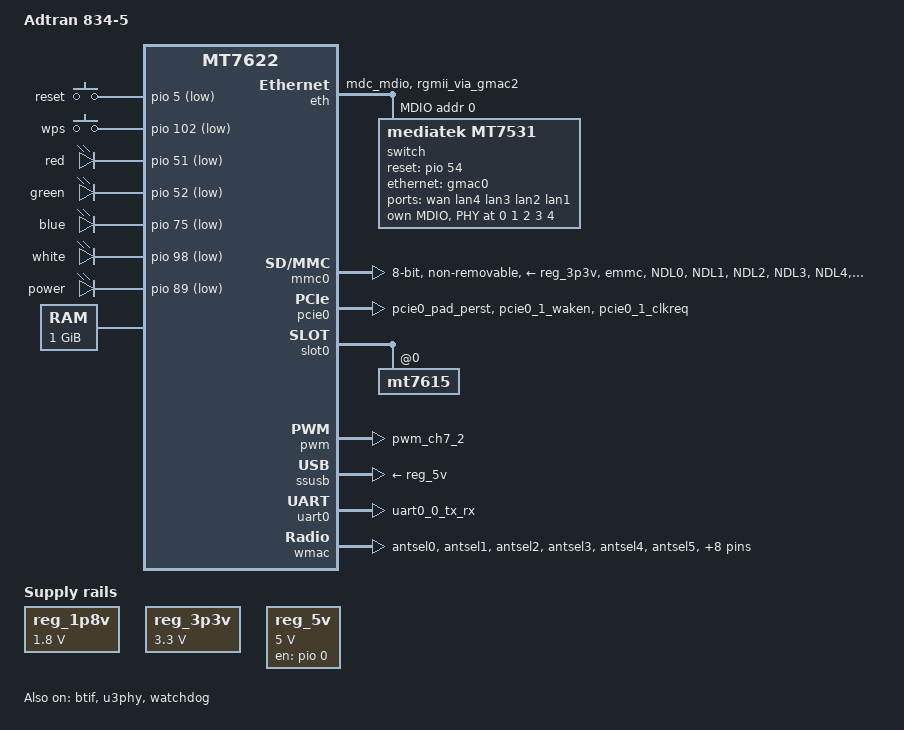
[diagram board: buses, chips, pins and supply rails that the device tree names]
/*
 * Copyright (c) 2018 MediaTek Inc.
 * Author: Ryder Lee <ryder.lee@mediatek.com>
 *
 * SPDX-License-Identifier: (GPL-2.0 OR MIT)
 */

/dts-v1/;
#include <dt-bindings/input/input.h>
#include <dt-bindings/gpio/gpio.h>

#include "mt7622.dtsi"
#include "mt6380.dtsi"

/ {
	model = "Adtran 834-5";
	compatible = "smartrg,834-5", "mediatek,mt7622";

	aliases {
		serial0 = &uart0;
		led-boot = &sys_status;
		led-failsafe = &sys_status;
		led-running = &sys_status;
		led-upgrade = &sys_status;
	};

	chosen {
		stdout-path = "serial0:115200n8";
		bootargs = "earlycon=uart8250,mmio32,0x11002000 console=ttyS0,115200n1 swiotlb=512";
	};

	cpus {
		cpu@0 {
			proc-supply = <&mt6380_vcpu_reg>;
			sram-supply = <&mt6380_vm_reg>;
		};

		cpu@1 {
			proc-supply = <&mt6380_vcpu_reg>;
			sram-supply = <&mt6380_vm_reg>;
		};
	};

	gpio-keys {
		compatible = "gpio-keys";

		reset {
			label = "reset";
			linux,code = <KEY_RESTART>;
			gpios = <&pio 5 GPIO_ACTIVE_LOW>;
		};

		wps {
			label = "wps";
			linux,code = <KEY_WPS_BUTTON>;
			gpios = <&pio 102 GPIO_ACTIVE_LOW>;
		};
	};

	leds {
		compatible = "gpio-leds";

		system_red {
			label = "red";
			gpios = <&pio 51 GPIO_ACTIVE_LOW>;
			default-state = "off";
		};

		sys_status: system_green {
			label = "green";
			gpios = <&pio 52 GPIO_ACTIVE_LOW>;
			linux,default-trigger = "timer";
		};

		system_blue {
			label = "blue";
			gpios = <&pio 75 GPIO_ACTIVE_LOW>;
			default-state = "off";
		};

		system_white {
			label = "white";
			gpios = <&pio 98 GPIO_ACTIVE_LOW>;
			default-state = "off";
		};

		power {
			label = "power";
			gpios = <&pio 89 GPIO_ACTIVE_LOW>;
			default-state = "on";
		};
	};

	memory {
		reg = <0x0 0x40000000 0x0 0x40000000>;
	};

	reserved-memory {
		#address-cells = <2>;
		#size-cells = <2>;
		ranges;

		/delete-node/ramoops@42ff0000;

		bootdata_reserved: bootdata@45000000 {
			no-map;
			reg = <0x0 0x45000000 0x0 0x00001000>;
		};
		ramoops_reserved: ramoops1@45001000 {
			no-map;
			compatible = "ramoops";
			reg = <0x0 0x45001000 0x0 0x00140000>;
			ftrace-size = <0x20000>;
			record-size = <0x20000>;
			console-size = <0x20000>;
			pmsg-size = <0x80000>;
		};
	};

	bootdata {
		compatible = "bootdata";
		memory-region = <&bootdata_reserved>;
	};

	reg_1p8v: regulator-1p8v {
		compatible = "regulator-fixed";
		regulator-name = "fixed-1.8V";
		regulator-min-microvolt = <1800000>;
		regulator-max-microvolt = <1800000>;
		regulator-always-on;
	};

	reg_3p3v: regulator-3p3v {
		compatible = "regulator-fixed";
		regulator-name = "fixed-3.3V";
		regulator-min-microvolt = <3300000>;
		regulator-max-microvolt = <3300000>;
		regulator-boot-on;
		regulator-always-on;
	};

	reg_5v: regulator-5v {
		compatible = "regulator-fixed";
		regulator-name = "fixed-5V";
		regulator-min-microvolt = <5000000>;
		regulator-max-microvolt = <5000000>;
		gpio = <&pio 0 GPIO_ACTIVE_LOW>;
		enable-active-high;
	};
};

&btif {
	status = "okay";
};

&eth {
	pinctrl-names = "default";
	pinctrl-0 = <&eth_pins>;
	status = "okay";

	gmac0: mac@0 {
		compatible = "mediatek,eth-mac";
		reg = <0>;
		phy-mode = "2500base-x";

		fixed-link {
			speed = <2500>;
			full-duplex;
			pause;
		};
	};

	mdio: mdio-bus {
		#address-cells = <1>;
		#size-cells = <0>;

		switch@0 {
			compatible = "mediatek,mt7531";
			reg = <0>;
			reset-gpios = <&pio 54 0>;

			mdio {
				#address-cells = <1>;
				#size-cells = <0>;

				swphy0: phy@0 {
					reg = <0>;
					mediatek,led-config = <
						0x21 0x8009 /* BASIC_CTRL */
						0x22 0x0000 /* ON_DURATION */
						0x23 0x0000 /* BLINK_DURATION */
						0x24 0xc001 /* LED0_ON_CTRL */
						0x25 0x0000 /* LED0_BLINK_CTRL */
						0x26 0xc006 /* LED1_ON_CTRL */
						0x27 0x0000 /* LED1_BLINK_CTRL */
					>;
				};

				swphy1: phy@1 {
					reg = <1>;
					mediatek,led-config = <
						0x21 0x8009 /* BASIC_CTRL */
						0x22 0x0000 /* ON_DURATION */
						0x23 0x0000 /* BLINK_DURATION */
						0x24 0xc001 /* LED0_ON_CTRL */
						0x25 0x0000 /* LED0_BLINK_CTRL */
						0x26 0xc006 /* LED1_ON_CTRL */
						0x27 0x0000 /* LED1_BLINK_CTRL */
					>;
				};

				swphy2: phy@2 {
					reg = <2>;
					mediatek,led-config = <
						0x21 0x8009 /* BASIC_CTRL */
						0x22 0x0000 /* ON_DURATION */
						0x23 0x0000 /* BLINK_DURATION */
						0x24 0xc001 /* LED0_ON_CTRL */
						0x25 0x0000 /* LED0_BLINK_CTRL */
						0x26 0xc006 /* LED1_ON_CTRL */
						0x27 0x0000 /* LED1_BLINK_CTRL */
					>;
				};

				swphy3: phy@3 {
					reg = <3>;
					mediatek,led-config = <
						0x21 0x8009 /* BASIC_CTRL */
						0x22 0x0000 /* ON_DURATION */
						0x23 0x0000 /* BLINK_DURATION */
						0x24 0xc001 /* LED0_ON_CTRL */
						0x25 0x0000 /* LED0_BLINK_CTRL */
						0x26 0xc006 /* LED1_ON_CTRL */
						0x27 0x0000 /* LED1_BLINK_CTRL */
					>;
				};

				swphy4: phy@4 {
					reg = <4>;
					mediatek,led-config = <
						0x21 0x8009 /* BASIC_CTRL */
						0x22 0x0000 /* ON_DURATION */
						0x23 0x0000 /* BLINK_DURATION */
						0x24 0xc001 /* LED0_ON_CTRL */
						0x25 0x0000 /* LED0_BLINK_CTRL */
						0x26 0xc006 /* LED1_ON_CTRL */
						0x27 0x0000 /* LED1_BLINK_CTRL */
					>;
				};
			};

			ports {
				#address-cells = <1>;
				#size-cells = <0>;

				port@0 {
					reg = <0>;
					label = "wan";
					phy-handle = <&swphy0>;
				};

				port@1 {
					reg = <1>;
					label = "lan4";
					phy-handle = <&swphy1>;
				};

				port@2 {
					reg = <2>;
					label = "lan3";
					phy-handle = <&swphy2>;
				};

				port@3 {
					reg = <3>;
					label = "lan2";
					phy-handle = <&swphy3>;
				};

				port@4 {
					reg = <4>;
					label = "lan1";
					phy-handle = <&swphy4>;
				};

				port@6 {
					reg = <6>;
					ethernet = <&gmac0>;
					phy-mode = "2500base-x";

					fixed-link {
						speed = <2500>;
						full-duplex;
						pause;
					};
				};
			};
		};
	};
};

&mmc0 {
	pinctrl-names = "default", "state_uhs";
	pinctrl-0 = <&emmc_pins_default>;
	pinctrl-1 = <&emmc_pins_uhs>;
	status = "okay";
	bus-width = <8>;
	max-frequency = <50000000>;
	cap-mmc-highspeed;
	mmc-hs200-1_8v;
	vmmc-supply = <&reg_3p3v>;
	vqmmc-supply = <&reg_1p8v>;
	assigned-clocks = <&topckgen CLK_TOP_MSDC30_0_SEL>;
	assigned-clock-parents = <&topckgen CLK_TOP_UNIV48M>;
	non-removable;
};

&pcie0 {
	pinctrl-names = "default";
	pinctrl-0 = <&pcie0_pins>;
	status = "okay";
};

&slot0 {
	mt7615@0,0 {
		reg = <0x0000 0 0 0 0>;
		mediatek,eeprom-file-offset = <0x5000>;
		ieee80211-freq-limit = <5170000 5835000>;
	};
};

&pio {
	/* eMMC is shared pin with parallel NAND */
	emmc_pins_default: emmc-pins-default {
		mux {
			function = "emmc", "emmc_rst";
			groups = "emmc";
		};

		/* "NDL0","NDL1","NDL2","NDL3","NDL4","NDL5","NDL6","NDL7",
		 * "NRB","NCLE" pins are used as DAT0,DAT1,DAT2,DAT3,DAT4,
		 * DAT5,DAT6,DAT7,CMD,CLK for eMMC respectively
		 */
		conf-cmd-dat {
			pins = "NDL0", "NDL1", "NDL2",
			       "NDL3", "NDL4", "NDL5",
			       "NDL6", "NDL7", "NRB";
			input-enable;
			bias-pull-up;
		};

		conf-clk {
			pins = "NCLE";
			bias-pull-down;
		};
	};

	emmc_pins_uhs: emmc-pins-uhs {
		mux {
			function = "emmc";
			groups = "emmc";
		};

		conf-cmd-dat {
			pins = "NDL0", "NDL1", "NDL2",
			       "NDL3", "NDL4", "NDL5",
			       "NDL6", "NDL7", "NRB";
			input-enable;
			drive-strength = <4>;
			bias-pull-up;
		};

		conf-clk {
			pins = "NCLE";
			drive-strength = <4>;
			bias-pull-down;
		};
	};

	eth_pins: eth-pins {
		mux {
			function = "eth";
			groups = "mdc_mdio", "rgmii_via_gmac2";
		};
	};

	pcie0_pins: pcie0-pins {
		mux {
			function = "pcie";
			groups = "pcie0_pad_perst",
				 "pcie0_1_waken",
				 "pcie0_1_clkreq";
		};
	};

	pmic_bus_pins: pmic-bus-pins {
		mux {
			function = "pmic";
			groups = "pmic_bus";
		};
	};

	pwm7_pins: pwm1-2-pins {
		mux {
			function = "pwm";
			groups = "pwm_ch7_2";
		};
	};

	uart0_pins: uart0-pins {
		mux {
			function = "uart";
			groups = "uart0_0_tx_rx" ;
		};
	};

	watchdog_pins: watchdog-pins {
		mux {
			function = "watchdog";
			groups = "watchdog";
		};
	};

	wmac0_pins: epa-pins {
		mux {
			function = "antsel";
			groups = "antsel0", "antsel1", "antsel2", "antsel3",
				 "antsel4", "antsel5", "antsel6",
				 "antsel8", "antsel9", "antsel12", "antsel13",
				 "antsel15", "antsel16", "antsel17";
		};
	};
};

&pwm {
	pinctrl-names = "default";
	pinctrl-0 = <&pwm7_pins>;
	status = "okay";
};

&pwrap {
	pinctrl-names = "default";
	pinctrl-0 = <&pmic_bus_pins>;
	status = "okay";
};

&ssusb {
	vusb33-supply = <&reg_3p3v>;
	vbus-supply = <&reg_5v>;
	status = "okay";
};

&u3phy {
	status = "okay";
};

&uart0 {
	pinctrl-names = "default";
	pinctrl-0 = <&uart0_pins>;
	status = "okay";
};

&watchdog {
	pinctrl-names = "default";
	pinctrl-0 = <&watchdog_pins>;
	status = "okay";
};

&wmac {
	pinctrl-names = "default";
	pinctrl-0 = <&wmac0_pins>;

	mediatek,eeprom-file-offset = <0x0>;
	status = "okay";
};
